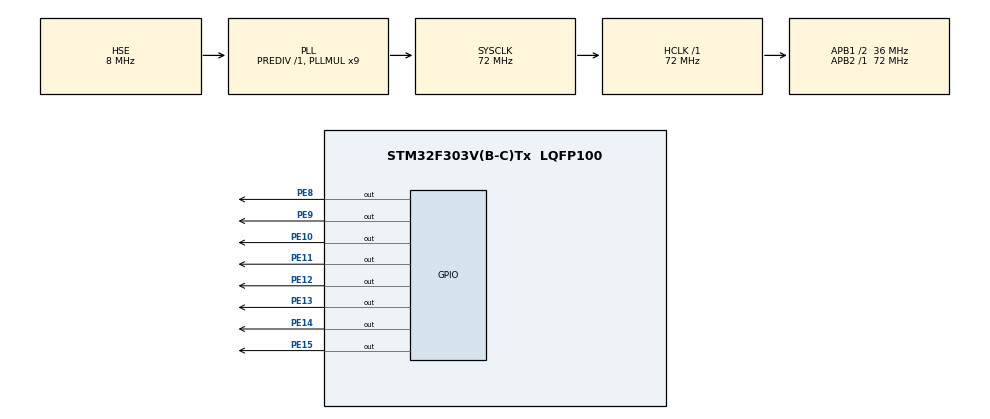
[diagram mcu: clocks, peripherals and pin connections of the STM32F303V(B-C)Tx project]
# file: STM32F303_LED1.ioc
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Mcu.Family=STM32F3
Mcu.Name=STM32F303V(B-C)Tx
Mcu.Package=LQFP100
NVIC.PriorityGroup=NVIC_PRIORITYGROUP_4
PA13.Mode=Serial_Wire
PA13.Signal=SYS_JTMS-SWDIO
PA14.Mode=Serial_Wire
PA14.Signal=SYS_JTCK-SWCLK
PE10.Signal=GPIO_Output
PE11.Signal=GPIO_Output
PE12.Signal=GPIO_Output
PE13.Signal=GPIO_Output
PE14.Signal=GPIO_Output
PE15.Signal=GPIO_Output
PE8.Signal=GPIO_Output
PE9.Signal=GPIO_Output
PF0-OSC_IN.Mode=HSE-External-Oscillator
PF0-OSC_IN.Signal=RCC_OSC_IN
PF1-OSC_OUT.Mode=HSE-External-Oscillator
PF1-OSC_OUT.Signal=RCC_OSC_OUT
ProjectManager.HeapSize=0x200
ProjectManager.StackSize=0x400
ProjectManager.TargetToolchain=STM32CubeIDE
RCC.AHBFreq_Value=72000000
RCC.APB1CLKDivider=RCC_HCLK_DIV2
RCC.APB1Freq_Value=36000000
RCC.APB1TimFreq_Value=72000000
RCC.APB2Freq_Value=72000000
RCC.APB2TimFreq_Value=72000000
RCC.CortexFreq_Value=72000000
RCC.HCLKFreq_Value=72000000
RCC.HSE_VALUE=8000000
RCC.HSI_VALUE=8000000
RCC.LSE_VALUE=32768
RCC.PLLMUL=RCC_PLL_MUL9
RCC.PLLSourceVirtual=RCC_PLLSOURCE_HSE
RCC.SYSCLKFreq_VALUE=72000000
RCC.SYSCLKSourceVirtual=RCC_SYSCLKSOURCE_PLLCLK
RCC.USBFreq_Value=72000000
board=custom

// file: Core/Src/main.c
/* USER CODE BEGIN Header */
/**
  ******************************************************************************
  * @file           : main.c
  * @brief          : Main program body
  ******************************************************************************
  * @attention
  *
  * Copyright (c) 2022 STMicroelectronics.
  * All rights reserved.
  *
  * This software is licensed under terms that can be found in the LICENSE file
  * in the root directory of this software component.
  * If no LICENSE file comes with this software, it is provided AS-IS.
  *
  ******************************************************************************
  */
/* USER CODE END Header */
#include "main.h"

/* USER CODE BEGIN Includes */
	long current;
	long last=0;
	int X=0;
	int Y=0;
/* USER CODE END Includes */

void SystemClock_Config(void);
static void MX_GPIO_Init(void);

int main(void)
{

  /* MCU Configuration--------------------------------------------------------*/

  /* Reset of all peripherals, Initializes the Flash interface and the Systick. */
  HAL_Init();

  /* Configure the system clock */
  SystemClock_Config();

  /* Initialize all configured peripherals */
  MX_GPIO_Init();

  /* Infinite loop */
  /* USER CODE BEGIN WHILE */
  while (1)
  {
	 current = HAL_GetTick();
	 if (current-last>=1000){
		if (Y==0){
			X++;
			if(X==10){
				Y=1;
			}
		}
	if (Y==1){
		X--;
	}
	if (X==1){
		Y=0;
	}
		 last=current;

		 	 if (X==1){
		 		 HAL_GPIO_WritePin(GPIOE, GPIO_PIN_9, 1);
		 		 HAL_GPIO_WritePin(GPIOE, GPIO_PIN_10, 0);
		 		 HAL_GPIO_WritePin(GPIOE, GPIO_PIN_8, 0);
		 	 }
		 	 if (X==2){
		 		 HAL_GPIO_WritePin(GPIOE, GPIO_PIN_10, 1);
		 		 HAL_GPIO_WritePin(GPIOE, GPIO_PIN_9, 0);
		 		 HAL_GPIO_WritePin(GPIOE, GPIO_PIN_11, 0);
		 	 }
		 	 if (X==3){
		 		 HAL_GPIO_WritePin(GPIOE, GPIO_PIN_11, 1);
		 		 HAL_GPIO_WritePin(GPIOE, GPIO_PIN_10, 0);
		 		 HAL_GPIO_WritePin(GPIOE, GPIO_PIN_12, 0);
		 	 }
		 	 if (X==4){
		 		 HAL_GPIO_WritePin(GPIOE, GPIO_PIN_12, 1);
		 		 HAL_GPIO_WritePin(GPIOE, GPIO_PIN_11, 0);
		 		 HAL_GPIO_WritePin(GPIOE, GPIO_PIN_13, 0);
		 	 }
		 	 if (X==5){
		 		 HAL_GPIO_WritePin(GPIOE, GPIO_PIN_13, 1);
		 		 HAL_GPIO_WritePin(GPIOE, GPIO_PIN_12, 0);
		 		 HAL_GPIO_WritePin(GPIOE, GPIO_PIN_14, 0);
		 	 }
		 	 if (X==6){
		 		 HAL_GPIO_WritePin(GPIOE, GPIO_PIN_14, 1);
		 		 HAL_GPIO_WritePin(GPIOE, GPIO_PIN_13, 0);
		 		 HAL_GPIO_WritePin(GPIOE, GPIO_PIN_15, 0);
		 	 }
		 	 if (X==7){
		 		 HAL_GPIO_WritePin(GPIOE, GPIO_PIN_15, 1);
		 		 HAL_GPIO_WritePin(GPIOE, GPIO_PIN_14, 0);
		 		 HAL_GPIO_WritePin(GPIOE, GPIO_PIN_8, 0);
		 	 }
		 	 if (X==8){
		 		 HAL_GPIO_WritePin(GPIOE, GPIO_PIN_8, 1);
		 		 HAL_GPIO_WritePin(GPIOE, GPIO_PIN_15, 0);
		 		 HAL_GPIO_WritePin(GPIOE, GPIO_PIN_9, 0);
		 	 }
		 	 if (X==9){
		 		 HAL_GPIO_WritePin(GPIOE, GPIO_PIN_9, 1);
		 		 HAL_GPIO_WritePin(GPIOE, GPIO_PIN_8, 0);
		 		 HAL_GPIO_WritePin(GPIOE, GPIO_PIN_10, 0);
		 	 }
	 	 }

    /* USER CODE END WHILE */

  }
}

void SystemClock_Config(void)
{
  RCC_OscInitTypeDef RCC_OscInitStruct = {0};
  RCC_ClkInitTypeDef RCC_ClkInitStruct = {0};

  /** Initializes the RCC Oscillators according to the specified parameters
  * in the RCC_OscInitTypeDef structure.
  */
  RCC_OscInitStruct.OscillatorType = RCC_OSCILLATORTYPE_HSE;
  RCC_OscInitStruct.HSEState = RCC_HSE_ON;
  RCC_OscInitStruct.HSEPredivValue = RCC_HSE_PREDIV_DIV1;
  RCC_OscInitStruct.HSIState = RCC_HSI_ON;
  RCC_OscInitStruct.PLL.PLLState = RCC_PLL_ON;
  RCC_OscInitStruct.PLL.PLLSource = RCC_PLLSOURCE_HSE;
  RCC_OscInitStruct.PLL.PLLMUL = RCC_PLL_MUL9;
  if (HAL_RCC_OscConfig(&RCC_OscInitStruct) != HAL_OK)
  {
    Error_Handler();
  }

  /** Initializes the CPU, AHB and APB buses clocks
  */
  RCC_ClkInitStruct.ClockType = RCC_CLOCKTYPE_HCLK|RCC_CLOCKTYPE_SYSCLK
                              |RCC_CLOCKTYPE_PCLK1|RCC_CLOCKTYPE_PCLK2;
  RCC_ClkInitStruct.SYSCLKSource = RCC_SYSCLKSOURCE_PLLCLK;
  RCC_ClkInitStruct.AHBCLKDivider = RCC_SYSCLK_DIV1;
  RCC_ClkInitStruct.APB1CLKDivider = RCC_HCLK_DIV2;
  RCC_ClkInitStruct.APB2CLKDivider = RCC_HCLK_DIV1;

  if (HAL_RCC_ClockConfig(&RCC_ClkInitStruct, FLASH_LATENCY_2) != HAL_OK)
  {
    Error_Handler();
  }
}

static void MX_GPIO_Init(void)
{
  GPIO_InitTypeDef GPIO_InitStruct = {0};

  /* GPIO Ports Clock Enable */
  __HAL_RCC_GPIOF_CLK_ENABLE();
  __HAL_RCC_GPIOE_CLK_ENABLE();
  __HAL_RCC_GPIOA_CLK_ENABLE();

  /*Configure GPIO pin Output Level */
  HAL_GPIO_WritePin(GPIOE, GPIO_PIN_8|GPIO_PIN_9|GPIO_PIN_10|GPIO_PIN_11
                          |GPIO_PIN_12|GPIO_PIN_13|GPIO_PIN_14|GPIO_PIN_15, GPIO_PIN_RESET);

  /*Configure GPIO pins : PE8 PE9 PE10 PE11
                           PE12 PE13 PE14 PE15 */
  GPIO_InitStruct.Pin = GPIO_PIN_8|GPIO_PIN_9|GPIO_PIN_10|GPIO_PIN_11
                          |GPIO_PIN_12|GPIO_PIN_13|GPIO_PIN_14|GPIO_PIN_15;
  GPIO_InitStruct.Mode = GPIO_MODE_OUTPUT_PP;
  GPIO_InitStruct.Pull = GPIO_NOPULL;
  GPIO_InitStruct.Speed = GPIO_SPEED_FREQ_LOW;
  HAL_GPIO_Init(GPIOE, &GPIO_InitStruct);

}

void Error_Handler(void)
{
  __disable_irq();
  while (1)
  {
  }
}
